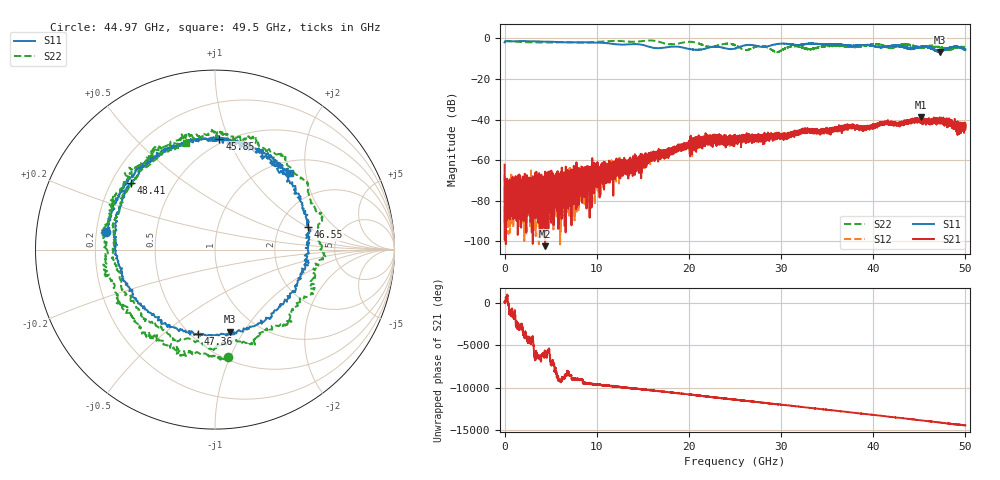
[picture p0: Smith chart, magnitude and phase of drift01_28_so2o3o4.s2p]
!Created with skrf (http://scikit-rf.org).
# Hz S RI R 50.0
!freq ReS11 ImS11 ReS21 ImS21 ReS12 ImS12 ReS22 ImS22
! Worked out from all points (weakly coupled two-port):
!   10001 points, 300 kHz to 50 GHz, reference 50 ohm
!   highest |S21| = -38.84 dB at 45.14 GHz (marker M1); lowest = -102.3 dB at 4.4 GHz (marker M2)
!   lowest |S11| = -6.7 dB at 47.21 GHz (marker M3), VSWR 2.74, Z = 37.4 - j43.7 ohm
!   |S11| at or under -10 dB: nowhere
!   |S22| runs from -6.8 to -1.0 dB; largest |S21 - S12| = 0.004
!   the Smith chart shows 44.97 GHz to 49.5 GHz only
!   S11 on the Smith chart (normalised r, x): 44.97 GHz: 0.24, +0.08; 45.85 GHz: 0.47, +0.93; 46.55 GHz: 2.90, +1.01; 47.36 GHz: 0.54, -0.66; 48.41 GHz: 0.28, +0.33; 49.5 GHz: 1.24, +1.64
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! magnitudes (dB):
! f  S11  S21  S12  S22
! 300 kHz  -2.1  -62.2  -67.3  -1.3
! 260.3 MHz  -1.4  -75.1  -90.7  -1.4
! 4.4 GHz  -1.6  -102.3  -77.6  -2.1
! 8.335 GHz  -1.9  -67.3  -65.1  -2.1
! 16.67 GHz  -4.9  -56.9  -55.7  -1.6
! 22.02 GHz  -4.7  -51.0  -48.7  -4.0
! 25 GHz  -5.0  -50.0  -49.1  -3.4
! 26.18 GHz  -3.3  -48.0  -50.1  -5.7
! 28.09 GHz  -4.3  -49.9  -48.5  -3.8
! 29.52 GHz  -2.8  -47.8  -47.5  -6.8
! 31.29 GHz  -3.1  -46.4  -47.2  -4.0
! 33.34 GHz  -2.6  -45.0  -45.1  -5.4
! 41.67 GHz  -3.9  -41.8  -41.5  -4.6
! 44.97 GHz  -4.2  -39.6  -40.8  -4.4
! 45.14 GHz  -4.3  -38.8  -40.1  -4.3
! 45.85 GHz  -4.2  -40.4  -41.4  -4.2
! 46.55 GHz  -5.4  -40.9  -40.0  -3.8
! 47.21 GHz  -6.7  -41.8  -40.5  -4.5
! 47.36 GHz  -6.4  -41.0  -41.0  -4.6
! 48.41 GHz  -4.5  -42.1  -42.5  -5.2
! 49.5 GHz  -4.5  -43.9  -43.2  -4.3
! 50 GHz  -5.5  -44.0  -43.6  -4.3
